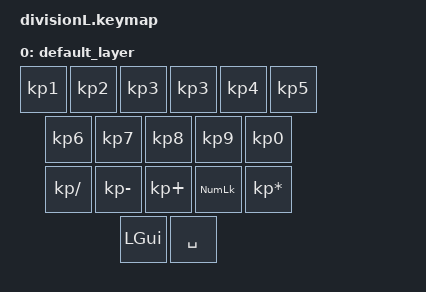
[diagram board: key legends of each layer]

#include <behaviors.dtsi>
#include <dt-bindings/zmk/keys.h>
#include <dt-bindings/zmk/bt.h>
#include <dt-bindings/zmk/ext_power.h>

/ {
    keymap {
        compatible = "zmk,keymap";

        default_layer {
            bindings = <
            &kp KP_N1      &kp KP_N2     &kp KP_N3     &kp KP_N3    &kp KP_N4     &kp KP_N5  
            &kp KP_N6        &kp KP_N7        &kp KP_N8         &kp KP_N9          &kp KP_N0 
            &kp KP_DIVIDE     &kp KP_MINUS         &kp KP_PLUS         &kp KP_NUMLOCK          &kp KP_MULTIPLY 
                                                     &kp LGUI    &kp SPACE  

            >;
        
        };
    };
};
